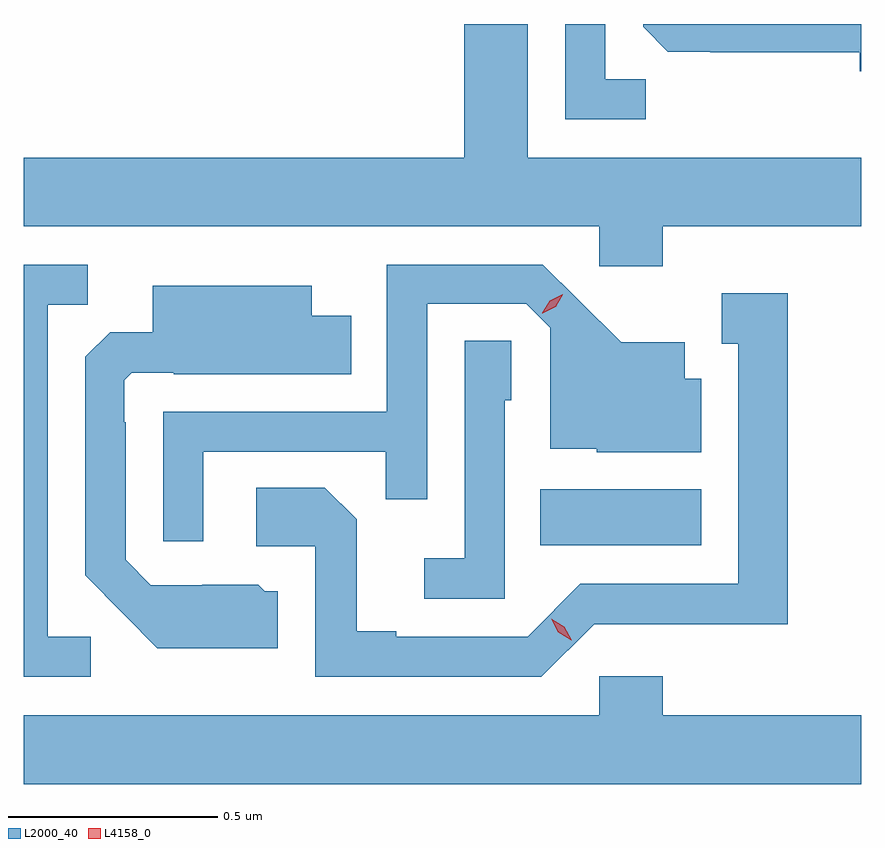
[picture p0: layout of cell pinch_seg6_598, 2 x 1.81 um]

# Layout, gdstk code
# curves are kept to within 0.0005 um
import gdstk
lib = gdstk.Library(unit=1e-6, precision=1e-09)
def R(c, l, rs):  # rectangles x0, y0, x1, y1
    for r in rs: c.add(gdstk.rectangle(r[:2], r[2:], *l))
def P(c, l, *ps):  # polygons
    for p in ps: c.add(gdstk.Polygon(p, *l))
L2000_40 = (2000, 40)
L4158_0 = (4158, 0)

pinch_seg6_598 = lib.new_cell('pinch_seg6_598')
R(pinch_seg6_598, L2000_40, [(627.1,977.21,627.484,977.344)])
P(pinch_seg6_598, L2000_40, [(627.392,977.972),(627.866,977.972),(627.866,978.136),(627.07,978.136),(627.07,978.455),(626.918,978.455),(626.918,978.136),(625.866,978.136),(625.866,977.972),(627.24,977.972),(627.24,977.877),(627.392,977.877)],
  [(627.866,978.455),(627.345,978.455),(627.345,978.448),(627.404,978.389),(627.505,978.389),(627.505,978.388),(627.862,978.388),(627.862,978.342),(627.866,978.342)],
  [(627.351,978.323),(627.255,978.323),(627.255,978.455),(627.159,978.455),(627.159,978.228),(627.351,978.228)],
  [(626.295,977.433),(626.731,977.433),(626.731,977.32),(626.829,977.32),(626.829,977.787),(627.066,977.787),(627.123,977.73),(627.123,977.441),(627.234,977.441),(627.234,977.432),(627.484,977.432),(627.484,977.608),(627.445,977.608),(627.445,977.695),(627.293,977.695),(627.106,977.88),(626.733,977.88),(626.733,977.529),(626.199,977.529),(626.199,977.22),(626.295,977.22)],
  [(626.026,976.992),(625.923,976.992),(625.923,977.785),(626.019,977.785),(626.019,977.88),(625.866,977.88),(625.866,976.896),(626.026,976.896)],
  [(626.473,977.1),(626.442,977.1),(626.426,977.116),(626.292,977.116),(626.292,977.115),(626.169,977.115),(626.109,977.175),(626.109,977.504),(626.106,977.504),(626.106,977.604),(626.124,977.622),(626.224,977.622),(626.224,977.618),(626.648,977.618),(626.648,977.758),(626.554,977.758),(626.554,977.83),(626.174,977.83),(626.174,977.719),(626.072,977.719),(626.013,977.66),(626.013,977.138),(626.185,976.964),(626.473,976.964)],
  [(627.228,977.022),(627.45,977.022),(627.45,977.021),(627.691,977.021),(627.691,977.812),(627.533,977.812),(627.533,977.691),(627.572,977.691),(627.572,977.118),(627.195,977.118),(627.069,976.992),(626.755,976.992),(626.755,977.005),(626.661,977.005),(626.661,977.272),(626.585,977.348),(626.421,977.348),(626.421,977.208),(626.562,977.208),(626.562,976.896),(627.102,976.896)],
  [(627.015,977.556),(627.03,977.556),(627.03,977.699),(626.919,977.699),(626.919,977.179),(626.823,977.179),(626.823,977.082),(627.015,977.082)],
  [(627.866,976.804),(627.392,976.804),(627.392,976.897),(627.24,976.897),(627.24,976.804),(625.866,976.804),(625.866,976.64),(627.866,976.64)])
P(pinch_seg6_598, L4158_0, [(627.174,976.983),(627.143,977.002),(627.126,977.035),(627.126,977.035),(627.126,977.035),(627.157,977.016),(627.175,976.983),(627.175,976.983)],
  [(627.104,977.764),(627.104,977.765),(627.122,977.794),(627.153,977.81),(627.153,977.81),(627.153,977.809),(627.136,977.78),(627.105,977.764)])

lib.write_gds('pinch_seg6_598.gds')
